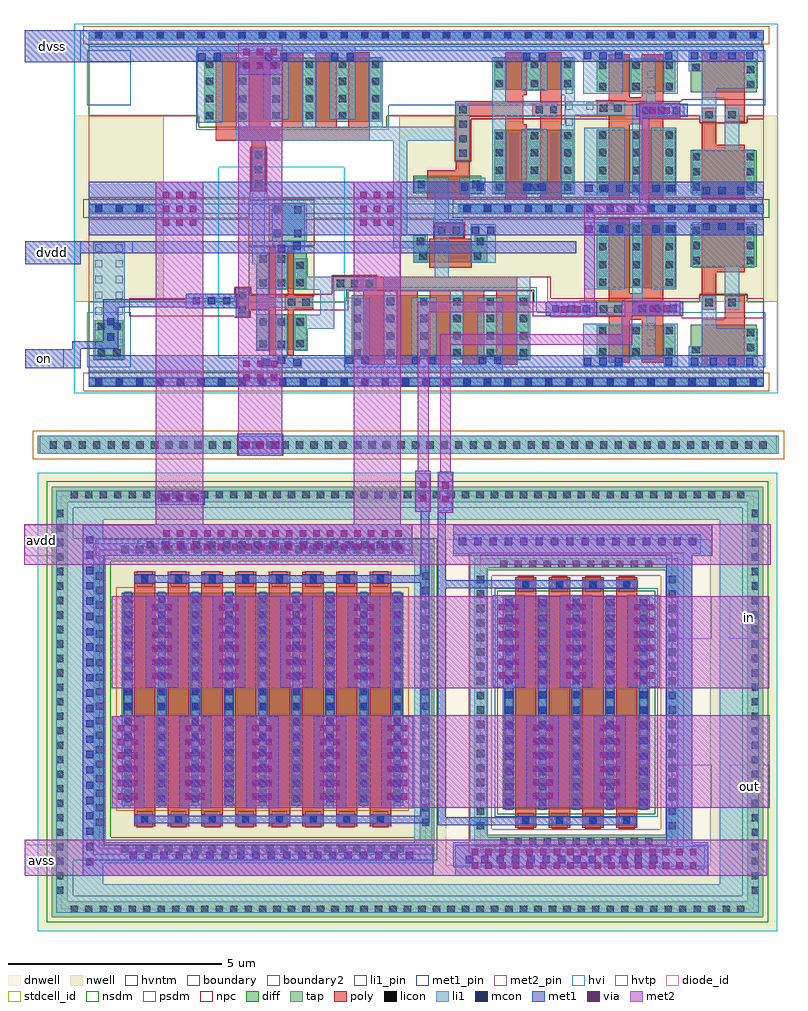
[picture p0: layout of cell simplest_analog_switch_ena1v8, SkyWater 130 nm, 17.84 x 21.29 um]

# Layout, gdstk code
from math import pi, radians
import gdstk
lib = gdstk.Library(unit=1e-6, precision=1e-09)
def R(c, l, rs):  # rectangles x0, y0, x1, y1
    for r in rs: c.add(gdstk.rectangle(r[:2], r[2:], *l))
def A(c, l, x, y, w, h, nx, ny, dx, dy):  # array of equal rectangles
    R(c, l, [(x+i*dx, y+j*dy, x+i*dx+w, y+j*dy+h) for i in range(nx) for j in range(ny)])
def P(c, l, *ps):  # polygons
    for p in ps: c.add(gdstk.Polygon(p, *l))
dnwell = (64, 18)
nwell = (64, 20)
diff = (65, 20)
tap = (65, 44)
poly = (66, 20)
licon = (66, 44)
li1_pin = (67, 16)
li1 = (67, 20)
mcon = (67, 44)
met1_pin = (68, 16)
met1 = (68, 20)
via = (68, 44)
met2_pin = (69, 16)
met2 = (69, 20)
hvi = (75, 20)
hvtp = (78, 44)
stdcell_id = (81, 4)
diode_id = (81, 23)
nsdm = (93, 44)
psdm = (94, 20)
npc = (95, 20)
hvntm = (125, 20)
boundary = (235, 4)
boundary2 = (236, 0)

iso_switch_via = lib.new_cell('iso_switch_via')
R(iso_switch_via, met1, [(3.26,-14.57,3.62,-13.61)])
R(iso_switch_via, via, [(3.36,-14.325,3.51,-14.175), (3.36,-14.005,3.51,-13.855)])
R(iso_switch_via, met2, [(3.26,-14.57,3.62,-13.61)])

sky130_fd_sc_hvl__inv_2 = lib.new_cell('sky130_fd_sc_hvl__inv_2')
R(sky130_fd_sc_hvl__inv_2, nwell, [(-0.33,1.885,2.73,4.485)])
R(sky130_fd_sc_hvl__inv_2, diff, [(0.4,0.58,2.25,1.33), (0.4,2.215,2.25,3.715)])
R(sky130_fd_sc_hvl__inv_2, tap, [(0,-0.085,2.4,0.085), (0,3.985,2.4,4.155)])
P(sky130_fd_sc_hvl__inv_2, poly, [(1.965,3.845),(1.465,3.845),(1.465,2.085),(1.185,2.085),(1.185,3.845),(0.685,3.845),(0.685,1.88),(0.4,1.88),(0.4,1.55),(0.685,1.55),(0.685,0.45),(1.185,0.45),(1.185,1.46),(1.465,1.46),(1.465,0.45),(1.965,0.45)])
A(sky130_fd_sc_hvl__inv_2, licon, 0.155, -0.085, 0.17, 0.17, 5, 2, 0.48, 4.07)
A(sky130_fd_sc_hvl__inv_2, licon, 0.46, 0.62, 0.17, 0.17, 3, 2, 0.78, 0.5)
A(sky130_fd_sc_hvl__inv_2, licon, 0.46, 2.255, 0.17, 0.17, 3, 2, 0.78, 0.415)
A(sky130_fd_sc_hvl__inv_2, licon, 0.46, 3.09, 0.17, 0.17, 3, 2, 0.78, 0.415)
R(sky130_fd_sc_hvl__inv_2, licon, [(0.48,1.63,0.65,1.8), (0.82,1.63,0.99,1.8)])
A(sky130_fd_sc_hvl__inv_2, li1_pin, 1.595, 0.84, 0.17, 0.17, 1, 3, 0, 0.37)
R(sky130_fd_sc_hvl__inv_2, li1_pin, [(0.155,1.58,0.325,1.75), (0.635,1.58,0.805,1.75)])
R(sky130_fd_sc_hvl__inv_2, li1, [(0,-0.085,2.4,0.085), (0.09,0.365,1.02,1.37), (1.98,0.365,2.31,1.37), (0.125,1.55,1.07,1.88), (0.11,2.175,1.06,3.755), (1.68,2.175,2.27,3.755), (0,3.985,2.4,4.155)])
P(sky130_fd_sc_hvl__inv_2, li1, [(1.795,1.78),(1.49,1.78),(1.49,3.755),(1.24,3.755),(1.24,1.61),(1.565,1.61),(1.565,1.37),(1.2,1.37),(1.2,0.54),(1.795,0.54)])
A(sky130_fd_sc_hvl__inv_2, mcon, 0.11, 0.395, 0.17, 0.17, 3, 1, 0.36, 0)
A(sky130_fd_sc_hvl__inv_2, mcon, 0.14, 3.505, 0.17, 0.17, 3, 1, 0.36, 0)
R(sky130_fd_sc_hvl__inv_2, mcon, [(0.155,-0.085,0.325,0.085), (0.155,-0.085,0.325,0.085), (0.635,-0.085,0.805,0.085), (0.635,-0.085,0.805,0.085), (1.115,-0.085,1.285,0.085), (1.115,-0.085,1.285,0.085), (1.595,-0.085,1.765,0.085), (1.595,-0.085,1.765,0.085), (2.075,-0.085,2.245,0.085), (2.075,-0.085,2.245,0.085), (2.01,0.395,2.18,0.565), (1.71,3.505,1.88,3.675), (2.07,3.505,2.24,3.675), (0.155,3.985,0.325,4.155), (0.155,3.985,0.325,4.155), (0.635,3.985,0.805,4.155), (0.635,3.985,0.805,4.155), (1.115,3.985,1.285,4.155), (1.115,3.985,1.285,4.155), (1.595,3.985,1.765,4.155), (1.595,3.985,1.765,4.155), (2.075,3.985,2.245,4.155), (2.075,3.985,2.245,4.155)])
R(sky130_fd_sc_hvl__inv_2, met1_pin, [(0,0,2.4,0.115), (0,0.255,2.4,0.625), (0,3.445,2.4,3.815), (0,3.955,2.4,4.07)])
R(sky130_fd_sc_hvl__inv_2, met1, [(0,-0.115,2.4,0.115), (0,0.255,2.4,0.625), (0,3.445,2.4,3.815), (0,3.955,2.4,4.185)])
R(sky130_fd_sc_hvl__inv_2, hvi, [(-0.33,-0.265,2.73,4.485)])
R(sky130_fd_sc_hvl__inv_2, stdcell_id, [(0,0,2.4,4.07)])
R(sky130_fd_sc_hvl__inv_2, nsdm, [(0,0.215,2.4,1.885), (-0.13,3.855,2.53,4.285), (0,3.855,2.4,4.07)])
R(sky130_fd_sc_hvl__inv_2, psdm, [(-0.13,-0.215,2.53,0.215)])
P(sky130_fd_sc_hvl__inv_2, psdm, [(2.4,3.855),(0,3.855),(0,1.91),(1.1,1.91),(1.1,1.885),(2.4,1.885)])
P(sky130_fd_sc_hvl__inv_2, npc, [(2.4,1.97),(0,1.97),(0,1.545),(0.38,1.545),(0.38,1.53),(1.09,1.53),(1.09,1.545),(2.4,1.545)])
R(sky130_fd_sc_hvl__inv_2, hvntm, [(-0.035,0.35,2.435,1.64)])
R(sky130_fd_sc_hvl__inv_2, boundary2, [(0,0,2.4,4.07)])
sky130_fd_sc_hvl__inv_2.add(gdstk.Label('inv_2', (0,0), layer=83, texttype=44))
sky130_fd_sc_hvl__inv_2.add(gdstk.Label('VGND', (1.2,0.44), layer=68, texttype=5))
sky130_fd_sc_hvl__inv_2.add(gdstk.Label('VNB', (1.2,0.058), layer=68, texttype=5))
sky130_fd_sc_hvl__inv_2.add(gdstk.Label('VPWR', (1.2,3.63), layer=68, texttype=5))
sky130_fd_sc_hvl__inv_2.add(gdstk.Label('VPB', (1.2,4.013), layer=68, texttype=5))
sky130_fd_sc_hvl__inv_2.add(gdstk.Label('A', (0.24,1.665), layer=67, texttype=5))
sky130_fd_sc_hvl__inv_2.add(gdstk.Label('A', (0.72,1.665), layer=67, texttype=5))
sky130_fd_sc_hvl__inv_2.add(gdstk.Label('Y', (1.68,0.925), layer=67, texttype=5))
sky130_fd_sc_hvl__inv_2.add(gdstk.Label('Y', (1.68,1.295), layer=67, texttype=5))
sky130_fd_sc_hvl__inv_2.add(gdstk.Label('Y', (1.68,1.665), layer=67, texttype=5))

sky130_fd_sc_hvl__diode_ = lib.new_cell('sky130_fd_sc_hvl__diode_2')
R(sky130_fd_sc_hvl__diode_, nwell, [(-0.33,1.885,1.29,4.485)])
R(sky130_fd_sc_hvl__diode_, diff, [(0.15,0.535,0.81,1.455)])
R(sky130_fd_sc_hvl__diode_, tap, [(0,-0.085,0.96,0.085), (0,3.985,0.96,4.155)])
R(sky130_fd_sc_hvl__diode_, licon, [(0.155,-0.085,0.325,0.085), (0.635,-0.085,0.805,0.085), (0.21,0.595,0.38,0.765), (0.58,0.595,0.75,0.765), (0.21,1.225,0.38,1.395), (0.58,1.225,0.75,1.395), (0.155,3.985,0.325,4.155), (0.635,3.985,0.805,4.155)])
A(sky130_fd_sc_hvl__diode_, li1_pin, 0.155, 0.84, 0.17, 0.17, 1, 7, 0, 0.37)
A(sky130_fd_sc_hvl__diode_, li1_pin, 0.635, 0.84, 0.17, 0.17, 1, 7, 0, 0.37)
R(sky130_fd_sc_hvl__diode_, li1, [(0,-0.085,0.96,0.085), (0.105,0.515,0.855,3.28), (0,3.985,0.96,4.155)])
R(sky130_fd_sc_hvl__diode_, mcon, [(0.155,-0.085,0.325,0.085), (0.155,-0.085,0.325,0.085), (0.635,-0.085,0.805,0.085), (0.635,-0.085,0.805,0.085), (0.155,3.985,0.325,4.155), (0.155,3.985,0.325,4.155), (0.635,3.985,0.805,4.155), (0.635,3.985,0.805,4.155)])
R(sky130_fd_sc_hvl__diode_, met1_pin, [(0,0,0.96,0.115), (0,0,0.96,0.115), (0,0.255,0.96,0.625), (0,3.445,0.96,3.815), (0,3.955,0.96,4.07), (0,3.955,0.96,4.07)])
R(sky130_fd_sc_hvl__diode_, met1, [(0,-0.115,0.96,0.115), (0,0.255,0.96,0.625), (0,3.445,0.96,3.815), (0,3.955,0.96,4.185)])
R(sky130_fd_sc_hvl__diode_, hvi, [(-0.33,-0.265,1.29,4.485)])
R(sky130_fd_sc_hvl__diode_, stdcell_id, [(0,0,0.96,4.07)])
R(sky130_fd_sc_hvl__diode_, diode_id, [(0.15,0.535,0.81,1.455)])
R(sky130_fd_sc_hvl__diode_, nsdm, [(0,0.215,0.96,1.885), (-0.13,3.855,1.09,4.285), (0,3.855,0.96,4.07)])
R(sky130_fd_sc_hvl__diode_, psdm, [(-0.13,-0.215,1.09,0.215), (0,1.885,0.96,3.855)])
R(sky130_fd_sc_hvl__diode_, hvntm, [(-0.035,0.35,0.995,1.64)])
R(sky130_fd_sc_hvl__diode_, boundary2, [(0,0,0.96,4.07)])
sky130_fd_sc_hvl__diode_.add(gdstk.Label('DIODE', (0.24,3.145), layer=67, texttype=5))
sky130_fd_sc_hvl__diode_.add(gdstk.Label('DIODE', (0.72,3.145), layer=67, texttype=5))
sky130_fd_sc_hvl__diode_.add(gdstk.Label('DIODE', (0.24,2.775), layer=67, texttype=5))
sky130_fd_sc_hvl__diode_.add(gdstk.Label('DIODE', (0.72,2.775), layer=67, texttype=5))
sky130_fd_sc_hvl__diode_.add(gdstk.Label('DIODE', (0.24,2.405), layer=67, texttype=5))
sky130_fd_sc_hvl__diode_.add(gdstk.Label('DIODE', (0.72,2.405), layer=67, texttype=5))
sky130_fd_sc_hvl__diode_.add(gdstk.Label('DIODE', (0.24,2.035), layer=67, texttype=5))
sky130_fd_sc_hvl__diode_.add(gdstk.Label('DIODE', (0.72,2.035), layer=67, texttype=5))
sky130_fd_sc_hvl__diode_.add(gdstk.Label('DIODE', (0.24,1.665), layer=67, texttype=5))
sky130_fd_sc_hvl__diode_.add(gdstk.Label('DIODE', (0.72,1.665), layer=67, texttype=5))
sky130_fd_sc_hvl__diode_.add(gdstk.Label('DIODE', (0.72,1.295), layer=67, texttype=5))
sky130_fd_sc_hvl__diode_.add(gdstk.Label('DIODE', (0.72,0.925), layer=67, texttype=5))
sky130_fd_sc_hvl__diode_.add(gdstk.Label('DIODE', (0.24,0.925), layer=67, texttype=5))
sky130_fd_sc_hvl__diode_.add(gdstk.Label('DIODE', (0.24,1.295), layer=67, texttype=5))
sky130_fd_sc_hvl__diode_.add(gdstk.Label('diode_2', (0,0), layer=83, texttype=44))
sky130_fd_sc_hvl__diode_.add(gdstk.Label('VGND', (0.48,0.44), layer=68, texttype=5))
sky130_fd_sc_hvl__diode_.add(gdstk.Label('VNB', (0.48,0.058), layer=68, texttype=5))
sky130_fd_sc_hvl__diode_.add(gdstk.Label('VNB', (0.48,0.058), layer=68, texttype=5))
sky130_fd_sc_hvl__diode_.add(gdstk.Label('VPWR', (0.48,3.63), layer=68, texttype=5))
sky130_fd_sc_hvl__diode_.add(gdstk.Label('VPB', (0.48,4.013), layer=68, texttype=5))
sky130_fd_sc_hvl__diode_.add(gdstk.Label('VPB', (0.48,4.013), layer=68, texttype=5))

sky130_fd_sc_hvl__decap_ = lib.new_cell('sky130_fd_sc_hvl__decap_4')
R(sky130_fd_sc_hvl__decap_, nwell, [(-0.33,1.885,2.25,4.485)])
R(sky130_fd_sc_hvl__decap_, diff, [(0.21,0.595,1.76,1.345), (0.21,2.705,1.76,3.705)])
R(sky130_fd_sc_hvl__decap_, tap, [(0,-0.085,1.92,0.085), (0,3.985,1.92,4.155)])
P(sky130_fd_sc_hvl__decap_, poly, [(1.475,3.835),(0.475,3.835),(0.475,1.7),(0.805,1.7),(0.805,2.575),(1.475,2.575)],
  [(1.475,2.03),(1.015,2.03),(1.015,1.475),(0.475,1.475),(0.475,0.405),(1.475,0.405)])
A(sky130_fd_sc_hvl__decap_, licon, 0.155, -0.085, 0.17, 0.17, 4, 2, 0.48, 4.07)
A(sky130_fd_sc_hvl__decap_, licon, 0.25, 2.765, 0.17, 0.17, 1, 3, 0, 0.355)
A(sky130_fd_sc_hvl__decap_, licon, 1.53, 2.765, 0.17, 0.17, 1, 3, 0, 0.355)
R(sky130_fd_sc_hvl__decap_, licon, [(0.25,0.675,0.42,0.845), (1.53,0.725,1.7,0.895), (1.53,1.08,1.7,1.25), (0.555,1.78,0.725,1.95), (1.095,1.78,1.265,1.95)])
R(sky130_fd_sc_hvl__decap_, li1, [(0,-0.085,1.92,0.085), (0,3.985,1.92,4.155)])
P(sky130_fd_sc_hvl__decap_, li1, [(1.7,3.755),(0.25,3.755),(0.25,2.685),(1.015,2.685),(1.015,1.7),(1.345,1.7),(1.345,2.685),(1.7,2.685)],
  [(1.78,1.25),(0.805,1.25),(0.805,2.03),(0.475,2.03),(0.475,0.845),(0.17,0.845),(0.17,0.365),(1.78,0.365)])
A(sky130_fd_sc_hvl__decap_, mcon, 0.155, -0.085, 0.17, 0.17, 4, 2, 0.48, 4.07)
A(sky130_fd_sc_hvl__decap_, mcon, 0.215, 0.395, 0.17, 0.17, 3, 1, 0.44, 0)
R(sky130_fd_sc_hvl__decap_, mcon, [(1.51,0.395,1.68,0.565), (0.495,3.56,0.665,3.73), (0.86,3.56,1.03,3.73), (1.3,3.56,1.47,3.73)])
R(sky130_fd_sc_hvl__decap_, met1_pin, [(0,0,1.92,0.115), (0,0,1.92,0.115), (0,0.255,1.92,0.625), (0,3.445,1.92,3.815), (0,3.955,1.92,4.07), (0,3.955,1.92,4.07)])
R(sky130_fd_sc_hvl__decap_, met1, [(0,-0.115,1.92,0.115), (0,0.255,1.92,0.625), (0,3.445,1.92,3.815), (0,3.955,1.92,4.185)])
R(sky130_fd_sc_hvl__decap_, hvi, [(-0.33,-0.265,2.25,4.485)])
R(sky130_fd_sc_hvl__decap_, stdcell_id, [(0,0,1.92,4.07)])
R(sky130_fd_sc_hvl__decap_, nsdm, [(-0.13,3.855,2.05,4.285)])
P(sky130_fd_sc_hvl__decap_, nsdm, [(1.92,1.885),(1.54,1.885),(1.54,2.07),(0.425,2.07),(0.425,1.885),(0,1.885),(0,0.215),(1.92,0.215)])
R(sky130_fd_sc_hvl__decap_, psdm, [(-0.13,-0.215,2.05,0.215)])
P(sky130_fd_sc_hvl__decap_, psdm, [(1.92,3.855),(0,3.855),(0,1.885),(0.425,1.885),(0.425,2.07),(1.54,2.07),(1.54,1.885),(1.92,1.885)])
P(sky130_fd_sc_hvl__decap_, npc, [(1.92,1.97),(1.54,1.97),(1.54,2.05),(0.425,2.05),(0.425,1.97),(0,1.97),(0,1.5),(1.92,1.5)])
R(sky130_fd_sc_hvl__decap_, hvntm, [(-0.035,0.35,1.955,1.64)])
R(sky130_fd_sc_hvl__decap_, boundary2, [(0,0,1.92,4.07)])
sky130_fd_sc_hvl__decap_.add(gdstk.Label('decap_4', (0,0), layer=83, texttype=44))
sky130_fd_sc_hvl__decap_.add(gdstk.Label('VNB', (0.96,0.058), layer=68, texttype=5))
sky130_fd_sc_hvl__decap_.add(gdstk.Label('VGND', (0.96,0.44), layer=68, texttype=5))
sky130_fd_sc_hvl__decap_.add(gdstk.Label('VNB', (0.96,0.058), layer=68, texttype=5))
sky130_fd_sc_hvl__decap_.add(gdstk.Label('VPWR', (0.96,3.63), layer=68, texttype=5))
sky130_fd_sc_hvl__decap_.add(gdstk.Label('VPB', (0.96,4.013), layer=68, texttype=5))
sky130_fd_sc_hvl__decap_.add(gdstk.Label('VPB', (0.96,4.013), layer=68, texttype=5))

sky130_fd_sc_hvl__fill_2 = lib.new_cell('sky130_fd_sc_hvl__fill_2')
R(sky130_fd_sc_hvl__fill_2, nwell, [(-0.33,1.885,1.29,4.485)])
R(sky130_fd_sc_hvl__fill_2, tap, [(0,-0.085,0.96,0.085), (0,3.985,0.96,4.155)])
R(sky130_fd_sc_hvl__fill_2, licon, [(0.155,-0.085,0.325,0.085), (0.635,-0.085,0.805,0.085), (0.155,3.985,0.325,4.155), (0.635,3.985,0.805,4.155)])
R(sky130_fd_sc_hvl__fill_2, li1, [(0,-0.085,0.96,0.085), (0,3.985,0.96,4.155)])
R(sky130_fd_sc_hvl__fill_2, mcon, [(0.155,-0.085,0.325,0.085), (0.155,-0.085,0.325,0.085), (0.635,-0.085,0.805,0.085), (0.635,-0.085,0.805,0.085), (0.155,3.985,0.325,4.155), (0.155,3.985,0.325,4.155), (0.635,3.985,0.805,4.155), (0.635,3.985,0.805,4.155)])
R(sky130_fd_sc_hvl__fill_2, met1_pin, [(0,0,0.96,0.115), (0,0,0.96,0.115), (0,0.255,0.96,0.625), (0,3.445,0.96,3.815), (0,3.955,0.96,4.07), (0,3.955,0.96,4.07)])
R(sky130_fd_sc_hvl__fill_2, met1, [(0,-0.115,0.96,0.115), (0,0.255,0.96,0.625), (0,3.445,0.96,3.815), (0,3.955,0.96,4.185)])
R(sky130_fd_sc_hvl__fill_2, hvi, [(-0.33,-0.265,1.29,4.485)])
R(sky130_fd_sc_hvl__fill_2, stdcell_id, [(0,0,0.96,4.07)])
R(sky130_fd_sc_hvl__fill_2, nsdm, [(0,0.215,0.96,1.885), (-0.13,3.855,1.09,4.285), (0,3.855,0.96,4.07)])
R(sky130_fd_sc_hvl__fill_2, psdm, [(-0.13,-0.215,1.09,0.215), (0,1.885,0.96,3.855)])
R(sky130_fd_sc_hvl__fill_2, hvntm, [(-0.035,0.35,0.995,1.64)])
R(sky130_fd_sc_hvl__fill_2, boundary2, [(0,0,0.96,4.07)])
sky130_fd_sc_hvl__fill_2.add(gdstk.Label('fill_2', (0,0), layer=83, texttype=44))
sky130_fd_sc_hvl__fill_2.add(gdstk.Label('VGND', (0.48,0.44), layer=68, texttype=5))
sky130_fd_sc_hvl__fill_2.add(gdstk.Label('VNB', (0.48,0.058), layer=68, texttype=5))
sky130_fd_sc_hvl__fill_2.add(gdstk.Label('VNB', (0.48,0.058), layer=68, texttype=5))
sky130_fd_sc_hvl__fill_2.add(gdstk.Label('VPWR', (0.48,3.63), layer=68, texttype=5))
sky130_fd_sc_hvl__fill_2.add(gdstk.Label('VPB', (0.48,4.013), layer=68, texttype=5))
sky130_fd_sc_hvl__fill_2.add(gdstk.Label('VPB', (0.48,4.013), layer=68, texttype=5))

sky130_fd_sc_hvl__lsbufl = lib.new_cell('sky130_fd_sc_hvl__lsbuflv2hv_1')
R(sky130_fd_sc_hvl__lsbufl, nwell, [(-0.33,1.885,0.8,6.255), (2.8,2.015,4.335,4.325)])
P(sky130_fd_sc_hvl__lsbufl, nwell, [(10.89,6.255),(6.335,6.255),(6.335,2.465),(9.8,2.465),(9.8,1.885),(10.89,1.885)])
R(sky130_fd_sc_hvl__lsbufl, diff, [(5.22,0.535,9.37,2.035), (2.985,0.755,4.155,1.595), (2.985,2.195,4.155,3.035), (6.665,4.425,8.255,4.845), (8.555,4.425,10.41,5.925), (1.755,6.105,5.905,7.605), (8.555,6.855,10.41,7.605)])
P(sky130_fd_sc_hvl__lsbufl, diff, [(8.395,3.445),(8.105,3.445),(8.105,3.235),(6.955,3.235),(6.955,3.445),(6.665,3.445),(6.665,2.815),(8.395,2.815)])
R(sky130_fd_sc_hvl__lsbufl, tap, [(0,-0.085,10.56,0.085), (3.265,3.305,4.155,4.145), (0,3.985,0.47,4.155), (7.715,3.985,10.56,4.155), (0,8.055,10.56,8.225)])
P(sky130_fd_sc_hvl__lsbufl, poly, [(3.43,3.165),(3.28,3.165),(3.28,2.035),(2.825,2.035),(2.825,2.2),(2.495,2.2),(2.495,1.53),(2.825,1.53),(2.825,1.705),(3.28,1.705),(3.28,0.625),(3.43,0.625)],
  [(10.145,7.735),(9.645,7.735),(9.645,6.555),(9.45,6.555),(9.45,6.225),(9.645,6.225),(9.645,4.295),(10.145,4.295)],
  [(9.32,6.055),(9.24,6.055),(9.24,6.725),(9.32,6.725),(9.32,7.735),(8.82,7.735),(8.82,6.555),(7.66,6.555),(7.66,4.975),(6.99,4.975),(6.99,4.295),(7.99,4.295),(7.99,6.225),(8.82,6.225),(8.82,4.295),(9.32,4.295)],
  [(9.105,2.475),(4.78,2.475),(4.78,2.145),(5.485,2.145),(5.485,0.405),(5.985,0.405),(5.985,2.145),(6.265,2.145),(6.265,0.405),(6.765,0.405),(6.765,2.145),(7.045,2.145),(7.045,0.405),(7.545,0.405),(7.545,2.145),(7.825,2.145),(7.825,0.405),(8.325,0.405),(8.325,2.145),(8.605,2.145),(8.605,0.405),(9.105,0.405)],
  [(8.03,3.365),(7.835,3.365),(7.835,3.725),(7.165,3.725),(7.165,3.365),(7.03,3.365),(7.03,2.685),(8.03,2.685)],
  [(5.64,7.735),(5.14,7.735),(5.14,5.995),(4.86,5.995),(4.86,7.735),(4.36,7.735),(4.36,5.995),(4.08,5.995),(4.08,7.735),(3.58,7.735),(3.58,5.995),(3.3,5.995),(3.3,7.735),(2.8,7.735),(2.8,5.995),(2.52,5.995),(2.52,7.735),(2.02,7.735),(2.02,5.665),(2.865,5.665),(2.865,4.485),(3.195,4.485),(3.195,5.665),(5.64,5.665)],
  [(4.31,2.035),(3.86,2.035),(3.86,3.165),(3.71,3.165),(3.71,2.035),(3.64,2.035),(3.64,1.705),(3.71,1.705),(3.71,0.625),(3.86,0.625),(3.86,1.705),(4.31,1.705)])
A(sky130_fd_sc_hvl__lsbufl, licon, 0.155, -0.085, 0.17, 0.17, 22, 2, 0.48, 8.14)
A(sky130_fd_sc_hvl__lsbufl, licon, 5.26, 0.595, 0.17, 0.17, 6, 2, 0.78, 0.4)
A(sky130_fd_sc_hvl__lsbufl, licon, 3.055, 1.325, 0.17, 0.17, 3, 2, 0.43, 0.92)
A(sky130_fd_sc_hvl__lsbufl, licon, 5.26, 1.405, 0.17, 0.17, 6, 2, 0.78, 0.4)
A(sky130_fd_sc_hvl__lsbufl, licon, 4.86, 2.225, 0.17, 0.17, 3, 1, 0.34, 0)
A(sky130_fd_sc_hvl__lsbufl, licon, 7.835, 3.985, 0.17, 0.17, 6, 1, 0.48, 0)
A(sky130_fd_sc_hvl__lsbufl, licon, 2.945, 4.565, 0.17, 0.17, 1, 3, 0, 0.34)
A(sky130_fd_sc_hvl__lsbufl, licon, 7.74, 5.285, 0.17, 0.17, 1, 4, 0, 0.34)
A(sky130_fd_sc_hvl__lsbufl, licon, 1.795, 6.165, 0.17, 0.17, 6, 2, 0.78, 0.4)
A(sky130_fd_sc_hvl__lsbufl, licon, 1.795, 6.975, 0.17, 0.17, 6, 2, 0.78, 0.4)
R(sky130_fd_sc_hvl__lsbufl, licon, [(3.485,0.795,3.655,0.965), (3.055,0.815,3.225,0.985), (3.915,0.815,4.085,0.985), (2.575,1.61,2.745,1.78), (3.72,1.785,3.89,1.955), (4.06,1.785,4.23,1.955), (2.575,1.95,2.745,2.12), (3.915,2.655,4.085,2.825), (3.055,2.805,3.225,2.975), (3.485,2.805,3.655,2.975), (6.805,2.875,6.975,3.045), (8.085,2.875,8.255,3.045), (6.745,3.215,6.915,3.385), (8.145,3.215,8.315,3.385), (3.385,3.4,3.555,3.57), (3.865,3.4,4.035,3.57), (7.245,3.475,7.415,3.645), (7.585,3.475,7.755,3.645), (3.385,3.95,3.555,4.12), (3.865,3.95,4.035,4.12), (0.155,3.985,0.325,4.155), (8.595,4.485,8.765,4.655), (9.42,4.485,9.59,4.655), (10.2,4.485,10.37,4.655), (6.765,4.55,6.935,4.72), (8.045,4.55,8.215,4.72), (8.595,4.885,8.765,5.055), (9.42,4.885,9.59,5.055), (10.2,4.885,10.37,5.055), (8.595,5.295,8.765,5.465), (9.42,5.295,9.59,5.465), (10.2,5.295,10.37,5.465), (8.595,5.695,8.765,5.865), (9.42,5.695,9.59,5.865), (10.2,5.695,10.37,5.865), (9.53,6.305,9.7,6.475), (9.87,6.305,10.04,6.475), (8.595,6.915,8.765,7.085), (9.42,6.915,9.59,7.085), (10.2,6.915,10.37,7.085), (8.595,7.375,8.765,7.545), (9.42,7.375,9.59,7.545), (10.2,7.375,10.37,7.545)])
A(sky130_fd_sc_hvl__lsbufl, li1_pin, 10.235, 5.28, 0.17, 0.17, 1, 5, 0, 0.37)
R(sky130_fd_sc_hvl__lsbufl, li1_pin, [(2.555,1.58,2.725,1.75), (2.555,1.95,2.725,2.12)])
R(sky130_fd_sc_hvl__lsbufl, li1, [(0,-0.085,10.56,0.085), (2.495,1.53,2.805,2.2), (8.005,2.795,8.595,3.705), (0,3.985,0.8,4.155), (7.755,3.985,10.56,4.155), (7.755,4.405,8.345,4.8), (9.21,4.405,9.8,5.945), (9.21,6.835,9.8,7.745), (0,8.055,10.56,8.225)])
P(sky130_fd_sc_hvl__lsbufl, li1, [(5.295,7.885),(1.585,7.885),(1.585,6.085),(2.175,6.085),(2.175,7.715),(3.145,7.715),(3.145,6.165),(3.735,6.165),(3.735,7.715),(4.705,7.715),(4.705,6.165),(5.295,6.165)],
  [(4.31,1.995),(3.265,1.995),(3.265,3.055),(3.175,3.055),(3.175,5.495),(2.885,5.495),(2.885,2.765),(2.975,2.765),(2.975,0.735),(3.265,0.735),(3.265,1.745),(4.31,1.745)],
  [(9.41,2.475),(7.495,2.475),(7.495,3.395),(7.835,3.395),(7.835,3.805),(7.495,3.805),(7.495,4.8),(6.685,4.8),(6.685,4.47),(7.165,4.47),(7.165,2.475),(5.96,2.475),(5.96,0.595),(6.29,0.595),(6.29,2.145),(7.52,2.145),(7.52,0.595),(7.85,0.595),(7.85,2.145),(9.08,2.145),(9.08,0.515),(9.41,0.515)],
  [(8.76,1.975),(8.17,1.975),(8.17,0.425),(7.2,0.425),(7.2,1.975),(6.61,1.975),(6.61,0.425),(5.64,0.425),(5.64,1.975),(5.05,1.975),(5.05,0.255),(8.76,0.255)],
  [(4.045,0.565),(3.705,0.565),(3.705,1.575),(3.435,1.575),(3.435,0.565),(3.095,0.565),(3.095,0.335),(4.045,0.335)],
  [(10.04,6.555),(8.845,6.555),(8.845,7.625),(8.515,7.625),(8.515,4.405),(8.845,4.405),(8.845,6.225),(10.04,6.225)],
  [(7.99,6.555),(7.66,6.555),(7.66,5.995),(5.945,5.995),(5.945,7.625),(5.615,7.625),(5.615,5.995),(4.385,5.995),(4.385,7.545),(4.055,7.545),(4.055,5.995),(2.825,5.995),(2.825,7.545),(2.495,7.545),(2.495,5.665),(6.185,5.665),(6.185,3.135),(6.665,3.135),(6.665,2.795),(6.995,2.795),(6.995,3.465),(6.515,3.465),(6.515,5.665),(7.66,5.665),(7.66,5.205),(7.99,5.205)],
  [(5.79,2.475),(4.185,2.475),(4.185,2.905),(3.875,2.905),(3.875,2.165),(4.48,2.165),(4.48,1.575),(3.875,1.575),(3.875,0.735),(4.185,0.735),(4.185,1.245),(4.81,1.245),(4.81,2.145),(5.79,2.145)],
  [(4.115,4.2),(3.345,4.2),(3.345,3.225),(3.435,3.225),(3.435,2.165),(3.705,2.165),(3.705,3.075),(4.115,3.075)],
  [(10.45,7.625),(10.12,7.625),(10.12,6.725),(10.21,6.725),(10.21,6.055),(10.12,6.055),(10.12,4.405),(10.45,4.405)])
A(sky130_fd_sc_hvl__lsbufl, mcon, 0.155, -0.085, 0.17, 0.17, 22, 2, 0.48, 8.14)
A(sky130_fd_sc_hvl__lsbufl, mcon, 7.835, 3.985, 0.17, 0.17, 6, 1, 0.48, 0)
R(sky130_fd_sc_hvl__lsbufl, mcon, [(3.125,0.365,3.295,0.535), (3.845,0.365,4.015,0.535), (3.485,0.425,3.655,0.595), (5.08,0.425,5.25,0.595), (5.44,0.425,5.61,0.595), (6.64,0.425,6.81,0.595), (7,0.425,7.17,0.595), (8.2,0.425,8.37,0.595), (8.56,0.425,8.73,0.595), (3.485,3.05,3.655,3.22), (3.845,3.105,4.015,3.275), (8.035,3.475,8.205,3.645), (8.395,3.475,8.565,3.645), (0.155,3.985,0.325,4.155), (7.785,4.495,7.955,4.665), (8.145,4.495,8.315,4.665), (9.24,4.495,9.41,4.665), (9.6,4.495,9.77,4.665), (1.615,7.545,1.785,7.715), (1.975,7.545,2.145,7.715), (3.175,7.545,3.345,7.715), (3.535,7.545,3.705,7.715), (4.735,7.545,4.905,7.715), (5.095,7.545,5.265,7.715), (9.24,7.545,9.41,7.715), (9.6,7.545,9.77,7.715)])
R(sky130_fd_sc_hvl__lsbufl, met1_pin, [(0,0,10.56,0.115), (0,0.255,10.56,0.625), (0.07,3.02,10.49,3.305), (0,3.445,10.56,3.815), (0,3.955,10.56,4.185), (0,4.325,10.56,4.695), (0,7.515,10.56,7.885), (0,8.025,10.56,8.14)])
A(sky130_fd_sc_hvl__lsbufl, met1, 0, -0.115, 10.56, 0.23, 1, 3, 0, 4.07)
R(sky130_fd_sc_hvl__lsbufl, met1, [(0,0.255,10.56,0.625), (0.07,3.02,10.49,3.305), (0,3.445,10.56,3.815), (0,4.325,10.56,4.695), (0,7.515,10.56,7.885)])
P(sky130_fd_sc_hvl__lsbufl, hvi, [(10.89,8.405),(5.035,8.405),(5.035,0.575),(2.095,0.575),(2.095,5.035),(5.035,5.035),(5.035,8.405),(-0.33,8.405),(-0.33,-0.265),(10.89,-0.265)])
R(sky130_fd_sc_hvl__lsbufl, hvtp, [(2.805,2.015,4.335,3.215)])
R(sky130_fd_sc_hvl__lsbufl, stdcell_id, [(0,0,10.56,8.14)])
R(sky130_fd_sc_hvl__lsbufl, nsdm, [(2.8,3.175,4.335,4.275), (-0.13,3.855,0.8,4.285), (7.585,3.855,10.69,4.285)])
P(sky130_fd_sc_hvl__lsbufl, nsdm, [(10.56,7.925),(0,7.925),(0,6.255),(1.625,6.255),(1.625,5.975),(6.035,5.975),(6.035,6.255),(10.56,6.255)],
  [(10.56,1.885),(9.5,1.885),(9.5,2.165),(5.09,2.165),(5.09,1.885),(0,1.885),(0,0.215),(10.56,0.215)])
R(sky130_fd_sc_hvl__lsbufl, psdm, [(-0.13,-0.215,10.69,0.215), (-0.13,7.925,10.69,8.355)])
P(sky130_fd_sc_hvl__lsbufl, psdm, [(10.56,6.255),(10.15,6.255),(10.15,6.195),(8.02,6.195),(8.02,5.175),(7.63,5.175),(7.63,6.255),(6.035,6.255),(6.035,5.975),(1.625,5.975),(1.625,6.255),(0,6.255),(0,4.285),(2.835,4.285),(2.835,5.525),(3.225,5.525),(3.225,4.285),(10.56,4.285)],
  [(10.56,3.855),(7.865,3.855),(7.865,3.365),(7.135,3.365),(7.135,3.855),(4.335,3.855),(4.335,3.175),(2.8,3.175),(2.8,3.855),(0,3.855),(0,1.885),(2.465,1.885),(2.465,2.23),(2.855,2.23),(2.855,2.065),(4.75,2.065),(4.75,2.505),(5.82,2.505),(5.82,2.465),(9.8,2.465),(9.8,1.885),(10.56,1.885)])
R(sky130_fd_sc_hvl__lsbufl, npc, [(7.145,3.375,7.855,3.745), (2.845,4.465,3.215,5.515)])
P(sky130_fd_sc_hvl__lsbufl, npc, [(10.56,6.595),(7.64,6.595),(7.64,5.185),(8.01,5.185),(8.01,6.17),(10.56,6.17)],
  [(10.56,1.97),(9.885,1.97),(9.885,2.47),(5.81,2.47),(5.81,2.495),(4.76,2.495),(4.76,2.055),(2.845,2.055),(2.845,2.22),(2.475,2.22),(2.475,1.97),(0,1.97),(0,1.545),(2.475,1.545),(2.475,1.51),(2.845,1.51),(2.845,1.685),(5.13,1.685),(5.13,2.125),(9.46,2.125),(9.46,1.545),(10.56,1.545)])
P(sky130_fd_sc_hvl__lsbufl, hvntm, [(10.595,1.64),(9.555,1.64),(9.555,2.22),(5.035,2.22),(5.035,0.35),(10.595,0.35)],
  [(10.595,7.79),(1.57,7.79),(1.57,5.92),(6.09,5.92),(6.09,6.5),(10.595,6.5)])
R(sky130_fd_sc_hvl__lsbufl, boundary2, [(0,0,10.56,8.14)])
sky130_fd_sc_hvl__lsbufl.add(gdstk.Label('lsbuflv2hv_1', (0,0), layer=83, texttype=44))
sky130_fd_sc_hvl__lsbufl.add(gdstk.Label('VPWR', (4.8,4.51), layer=68, texttype=5))
sky130_fd_sc_hvl__lsbufl.add(gdstk.Label('VPWR', (4.8,3.63), layer=68, texttype=5))
sky130_fd_sc_hvl__lsbufl.add(gdstk.Label('VGND', (4.7,7.7), layer=68, texttype=5))
sky130_fd_sc_hvl__lsbufl.add(gdstk.Label('VGND', (4.8,0.44), layer=68, texttype=5))
sky130_fd_sc_hvl__lsbufl.add(gdstk.Label('VNB', (4.8,0.058), layer=68, texttype=5))
sky130_fd_sc_hvl__lsbufl.add(gdstk.Label('LVPWR', (4.8,3.165), layer=68, texttype=5))
sky130_fd_sc_hvl__lsbufl.add(gdstk.Label('VPB', (4.8,4.068), layer=68, texttype=5))
sky130_fd_sc_hvl__lsbufl.add(gdstk.Label('VNB', (4.8,8.082), layer=68, texttype=5))
sky130_fd_sc_hvl__lsbufl.add(gdstk.Label('A', (2.64,2.035), layer=67, texttype=5))
sky130_fd_sc_hvl__lsbufl.add(gdstk.Label('A', (2.64,1.665), layer=67, texttype=5))
sky130_fd_sc_hvl__lsbufl.add(gdstk.Label('X', (10.32,6.105), layer=67, texttype=5))
sky130_fd_sc_hvl__lsbufl.add(gdstk.Label('X', (10.32,5.735), layer=67, texttype=5))
sky130_fd_sc_hvl__lsbufl.add(gdstk.Label('X', (10.32,5.365), layer=67, texttype=5))
sky130_fd_sc_hvl__lsbufl.add(gdstk.Label('X', (10.32,6.475), layer=67, texttype=5))
sky130_fd_sc_hvl__lsbufl.add(gdstk.Label('X', (10.32,6.845), layer=67, texttype=5))

iso_switch_via_med = lib.new_cell('iso_switch_via_med')
R(iso_switch_via_med, met1, [(3.06,-14.57,3.82,-12.41)])
A(iso_switch_via_med, via, 3.2, -14.365, 0.15, 0.15, 1, 6, 0, 0.32)
A(iso_switch_via_med, via, 3.52, -14.365, 0.15, 0.15, 1, 6, 0, 0.32)
R(iso_switch_via_med, met2, [(3.06,-14.57,3.82,-12.41)])

sky130_fd_pr__nfet_g5v0d = lib.new_cell('sky130_fd_pr__nfet_g5v0d10v5_N9BQ2J')
R(sky130_fd_pr__nfet_g5v0d, diff, [(-1.725,-2.5,1.725,2.5)])
R(sky130_fd_pr__nfet_g5v0d, tap, [(-2.395,-3.39,2.395,-3.1), (-2.395,-3.1,-2.105,3.1), (2.105,-3.1,2.395,3.1), (-2.395,3.1,2.395,3.39)])
A(sky130_fd_pr__nfet_g5v0d, poly, -1.435, -2.94, 0.5, 5.88, 4, 1, 0.79, 0)
A(sky130_fd_pr__nfet_g5v0d, licon, -1.785, -3.33, 0.17, 0.17, 11, 2, 0.34, 6.49)
A(sky130_fd_pr__nfet_g5v0d, licon, -2.335, -2.98, 0.17, 0.17, 1, 18, 0, 0.34)
A(sky130_fd_pr__nfet_g5v0d, licon, 2.165, -2.98, 0.17, 0.17, 1, 18, 0, 0.34)
A(sky130_fd_pr__nfet_g5v0d, licon, -1.27, -2.86, 0.17, 0.17, 4, 2, 0.79, 5.55)
A(sky130_fd_pr__nfet_g5v0d, licon, -1.665, -2.295, 0.17, 0.17, 5, 14, 0.79, 0.34)
A(sky130_fd_pr__nfet_g5v0d, li1, -1.435, -2.86, 0.5, 0.17, 4, 2, 0.79, 5.55)
A(sky130_fd_pr__nfet_g5v0d, li1, -1.665, -2.52, 0.17, 5.04, 5, 1, 0.79, 0)
R(sky130_fd_pr__nfet_g5v0d, li1, [(-2.335,-3.33,2.335,-3.16), (-2.335,-3.16,-2.165,3.16), (2.165,-3.16,2.335,3.16), (-2.335,3.16,2.335,3.33)])
A(sky130_fd_pr__nfet_g5v0d, mcon, -1.27, -2.86, 0.17, 0.17, 4, 2, 0.79, 5.55)
A(sky130_fd_pr__nfet_g5v0d, mcon, -1.665, -2.425, 0.17, 0.17, 5, 14, 0.79, 0.36)
A(sky130_fd_pr__nfet_g5v0d, met1, -1.415, -2.89, 0.46, 0.23, 4, 2, 0.79, 5.55)
A(sky130_fd_pr__nfet_g5v0d, met1, -1.695, -2.5, 0.23, 5, 5, 1, 0.79, 0)
R(sky130_fd_pr__nfet_g5v0d, hvi, [(-2.58,-3.575,2.58,3.575)])
R(sky130_fd_pr__nfet_g5v0d, nsdm, [(-1.85,-2.625,1.85,2.625)])
R(sky130_fd_pr__nfet_g5v0d, psdm, [(-2.52,-3.515,2.52,-2.975), (-2.52,-2.975,-1.98,2.975), (1.98,-2.975,2.52,2.975), (-2.52,2.975,2.52,3.515)])
A(sky130_fd_pr__nfet_g5v0d, npc, -1.37, -2.96, 0.37, 0.37, 4, 2, 0.79, 5.55)
R(sky130_fd_pr__nfet_g5v0d, hvntm, [(-1.91,-2.685,1.91,2.685)])
R(sky130_fd_pr__nfet_g5v0d, boundary, [(-2.25,-3.465,2.25,3.465)])

sky130_fd_pr__pfet_g5v0d = lib.new_cell('sky130_fd_pr__pfet_g5v0d10v5_KLJ6Y6')
R(sky130_fd_pr__pfet_g5v0d, nwell, [(-4.305,-3.985,4.305,3.985)])
R(sky130_fd_pr__pfet_g5v0d, diff, [(-3.305,-2.5,3.305,2.5)])
R(sky130_fd_pr__pfet_g5v0d, tap, [(-3.975,-3.655,3.975,-3.365), (-3.975,-3.365,-3.685,3.365), (3.685,-3.365,3.975,3.365), (-3.975,3.365,3.975,3.655)])
A(sky130_fd_pr__pfet_g5v0d, poly, -3.015, -2.985, 0.5, 5.97, 8, 1, 0.79, 0)
A(sky130_fd_pr__pfet_g5v0d, licon, -3.315, -3.595, 0.17, 0.17, 20, 2, 0.34, 7.02)
A(sky130_fd_pr__pfet_g5v0d, licon, -3.915, -2.975, 0.17, 0.17, 1, 18, 0, 0.34)
A(sky130_fd_pr__pfet_g5v0d, licon, 3.745, -2.975, 0.17, 0.17, 1, 18, 0, 0.34)
A(sky130_fd_pr__pfet_g5v0d, licon, -2.85, -2.905, 0.17, 0.17, 8, 2, 0.79, 5.64)
A(sky130_fd_pr__pfet_g5v0d, licon, -3.245, -2.295, 0.17, 0.17, 9, 14, 0.79, 0.34)
A(sky130_fd_pr__pfet_g5v0d, li1, -3.015, -2.905, 0.5, 0.17, 8, 2, 0.79, 5.64)
A(sky130_fd_pr__pfet_g5v0d, li1, -3.245, -2.52, 0.17, 5.04, 9, 1, 0.79, 0)
R(sky130_fd_pr__pfet_g5v0d, li1, [(-3.915,-3.595,3.915,-3.425), (-3.915,-3.425,-3.745,3.425), (3.745,-3.425,3.915,3.425), (-3.915,3.425,3.915,3.595)])
A(sky130_fd_pr__pfet_g5v0d, mcon, -2.85, -2.905, 0.17, 0.17, 8, 2, 0.79, 5.64)
A(sky130_fd_pr__pfet_g5v0d, mcon, -3.245, -2.425, 0.17, 0.17, 9, 14, 0.79, 0.36)
A(sky130_fd_pr__pfet_g5v0d, met1, -2.995, -2.935, 0.46, 0.23, 8, 2, 0.79, 5.64)
A(sky130_fd_pr__pfet_g5v0d, met1, -3.275, -2.5, 0.23, 5, 9, 1, 0.79, 0)
R(sky130_fd_pr__pfet_g5v0d, hvi, [(-4.305,-3.985,4.305,3.985)])
R(sky130_fd_pr__pfet_g5v0d, nsdm, [(-4.1,-3.78,4.1,-3.24), (-4.1,-3.24,-3.56,3.24), (3.56,-3.24,4.1,3.24), (-4.1,3.24,4.1,3.78)])
R(sky130_fd_pr__pfet_g5v0d, psdm, [(-3.43,-2.625,3.43,2.625)])
A(sky130_fd_pr__pfet_g5v0d, npc, -2.95, -3.005, 0.37, 0.37, 8, 2, 0.79, 5.64)
R(sky130_fd_pr__pfet_g5v0d, boundary, [(-3.83,-3.51,3.83,3.51)])

simple_analog_switch_2 = lib.new_cell('simple_analog_switch_2')
R(simple_analog_switch_2, dnwell, [(6.59,0.635,22.855,10.335)])
R(simple_analog_switch_2, nwell, [(6.05,0.12,23.4,1.665), (6.05,1.665,7.08,2.31), (21.825,1.665,23.4,9.305), (6.05,2.31,7.025,9.305), (6.05,9.305,23.4,10.88)])
R(simple_analog_switch_2, tap, [(6.38,0.45,23.07,0.82), (6.38,0.82,6.75,10.18), (22.7,0.82,23.07,10.18), (6.38,10.18,23.07,10.55)])
A(simple_analog_switch_2, licon, 6.82, 0.55, 0.17, 0.17, 47, 2, 0.34, 9.73)
A(simple_analog_switch_2, licon, 6.48, 0.995, 0.17, 0.17, 1, 27, 0, 0.34)
A(simple_analog_switch_2, licon, 22.8, 0.995, 0.17, 0.17, 1, 27, 0, 0.34)
R(simple_analog_switch_2, li1, [(6.48,0.55,22.97,1.22), (6.48,1.22,7.585,1.71), (22.05,1.22,22.97,9.77), (15.8,1.62,21.785,2.205), (6.48,1.71,15.35,2.21), (16.18,2.205,16.61,8.815), (20.8,2.205,21.41,8.815), (6.48,2.21,7.585,8.845), (14.88,2.21,15.35,8.845), (16.18,8.815,21.41,8.98), (6.48,8.845,15.35,9.315), (15.8,8.98,21.61,9.43), (6.48,9.315,7.585,9.77), (6.48,9.77,22.97,10.45)])
A(simple_analog_switch_2, mcon, 7.185, 1.66, 0.17, 0.17, 1, 22, 0, 0.36)
A(simple_analog_switch_2, mcon, 16.095, 1.715, 0.17, 0.17, 13, 1, 0.36, 0)
A(simple_analog_switch_2, mcon, 8.205, 1.815, 0.17, 0.17, 19, 1, 0.36, 0)
A(simple_analog_switch_2, mcon, 8.6, 9.1, 0.17, 0.17, 17, 1, 0.36, 0)
A(simple_analog_switch_2, mcon, 15.93, 9.18, 0.17, 0.17, 16, 1, 0.36, 0)
R(simple_analog_switch_2, met1_pin, [(20.7,1.575,21.7,2.11), (7.405,8.93,8.405,9.32), (14.905,9.96,15.245,10.865), (15.445,9.98,15.78,10.86)])
R(simple_analog_switch_2, met1, [(7.1,1.42,15.33,2.15), (15.85,1.42,21.785,2.15), (7.1,2.15,7.61,8.93), (20.8,2.15,21.41,8.93), (15.44,2.61,20.11,2.79), (8.31,2.65,15.24,2.83), (15.44,2.79,15.62,8.17), (15.04,2.83,15.24,8.29), (15.44,8.17,20.13,8.35), (8.31,8.29,15.24,8.47), (15.44,8.35,15.62,9.98), (15.04,8.47,15.24,9.96), (7.1,8.93,14.84,9.66), (15.8,8.93,21.875,9.66), (14.905,9.96,15.245,10.865), (15.44,9.98,15.78,10.1), (15.445,10.1,15.78,10.86)])
R(simple_analog_switch_2, met2_pin, [(21.03,3.02,21.87,4.02), (21.035,6.98,21.865,7.98)])
R(simple_analog_switch_2, met2, [(7.985,3.02,21.91,5.18), (7.78,5.82,21.91,7.98)])
R(simple_analog_switch_2, hvi, [(6.05,0.12,23.4,1.665), (6.05,1.665,7.08,2.31), (15.63,1.665,23.4,1.91), (15.63,1.91,16.105,9.06), (21.265,1.91,23.4,9.06), (6.05,2.31,7.025,9.305), (15.63,9.06,23.4,9.305), (6.05,9.305,23.4,10.88)])
R(simple_analog_switch_2, nsdm, [(6.255,0.325,23.195,0.945), (6.255,0.945,6.875,1.785), (22.575,0.945,23.195,10.055), (6.255,1.785,7.225,9.345), (6.255,9.345,6.875,10.055), (6.255,10.055,23.195,10.675)])
simple_analog_switch_2.add(gdstk.Reference(iso_switch_via_med, (5.52,-6.58), x_reflection=True))
simple_analog_switch_2.add(gdstk.Reference(iso_switch_via_med, (4.725,-9.41), x_reflection=True))
simple_analog_switch_2.add(gdstk.Reference(iso_switch_via_med, (6.305,-9.41), x_reflection=True))
simple_analog_switch_2.add(gdstk.Reference(iso_switch_via_med, (7.885,-9.41), x_reflection=True))
simple_analog_switch_2.add(gdstk.Reference(iso_switch_via_med, (9.465,-9.41), x_reflection=True))
simple_analog_switch_2.add(gdstk.Reference(iso_switch_via_med, (10.26,-6.58), x_reflection=True))
simple_analog_switch_2.add(gdstk.Reference(iso_switch_via_med, (7.1,-6.58), x_reflection=True))
simple_analog_switch_2.add(gdstk.Reference(iso_switch_via_med, (8.68,-6.58), x_reflection=True))
simple_analog_switch_2.add(gdstk.Reference(iso_switch_via_med, (11.045,-9.41), x_reflection=True))
simple_analog_switch_2.add(gdstk.Reference(iso_switch_via_med, (20.54,-6.57), rotation=pi))
simple_analog_switch_2.add(gdstk.Reference(iso_switch_via_med, (22.12,-6.57), rotation=pi))
simple_analog_switch_2.add(gdstk.Reference(iso_switch_via_med, (21.33,-9.4), rotation=pi))
simple_analog_switch_2.add(gdstk.Reference(iso_switch_via_med, (22.91,-9.4), rotation=pi))
simple_analog_switch_2.add(gdstk.Reference(iso_switch_via_med, (23.7,-6.57), rotation=pi))
simple_analog_switch_2.add(gdstk.Reference(sky130_fd_pr__nfet_g5v0d, (18.685,5.485), rotation=pi, x_reflection=True))
simple_analog_switch_2.add(gdstk.Reference(sky130_fd_pr__pfet_g5v0d, (11.325,5.565)))
simple_analog_switch_2.add(gdstk.Label('on', (15.612,10.42), layer=68, texttype=5))
simple_analog_switch_2.add(gdstk.Label('off', (15.075,10.412), layer=68, texttype=5))
simple_analog_switch_2.add(gdstk.Label('vss', (21.2,1.842), layer=68, texttype=5))
simple_analog_switch_2.add(gdstk.Label('out', (21.45,3.52), layer=69, texttype=5))
simple_analog_switch_2.add(gdstk.Label('in', (21.45,7.48), layer=69, texttype=5))
simple_analog_switch_2.add(gdstk.Label('vdd', (7.905,9.125), layer=68, texttype=5))

simplest_analog_switch_e = lib.new_cell('simplest_analog_switch_ena1v8')
R(simplest_analog_switch_e, tap, [(0.305,8.2,17.69,8.62)])
A(simplest_analog_switch_e, licon, 0.58, 8.325, 0.17, 0.17, 50, 1, 0.34, 0)
R(simplest_analog_switch_e, li1, [(3.06,7,4.22,7.33), (0.345,8.2,17.65,8.62), (1.9,10.735,2.13,11.51), (12.22,11.435,13.42,11.765), (14.255,11.44,15.455,11.77), (3.78,11.62,4.98,11.96), (14.395,16.105,15.475,16.415), (12.83,16.145,13.145,16.475)])
A(simplest_analog_switch_e, mcon, 3.19, 7.085, 0.17, 0.17, 3, 1, 0.36, 0)
A(simplest_analog_switch_e, mcon, 5.075, 8.325, 0.17, 0.17, 3, 1, 0.36, 0)
A(simplest_analog_switch_e, mcon, 12.375, 11.52, 0.17, 0.17, 3, 1, 0.36, 0)
A(simplest_analog_switch_e, mcon, 14.41, 11.525, 0.17, 0.17, 3, 1, 0.36, 0)
A(simplest_analog_switch_e, mcon, 3.935, 11.705, 0.17, 0.17, 3, 1, 0.36, 0)
A(simplest_analog_switch_e, mcon, 14.49, 16.175, 0.17, 0.17, 3, 1, 0.36, 0)
R(simplest_analog_switch_e, mcon, [(1.93,10.855,2.1,11.025), (1.93,11.215,2.1,11.385)])
R(simplest_analog_switch_e, met1_pin, [(0.01,10.205,0.91,10.65), (0.005,12.65,1.315,13.19), (0,17.395,1.315,18.135)])
R(simplest_analog_switch_e, met1, [(10.3,-1.61,15.955,-0.99), (3.075,5.81,4.185,5.83), (3.02,5.83,9.02,6.55), (3.06,7,4.22,7.33), (4.98,8.15,6.065,8.675), (5.05,9.84,6,9.9), (1.495,9.9,17.34,10.28), (0.01,10.205,1.31,10.65), (5.05,10.28,6,10.47), (1.115,10.65,1.31,10.665), (1.115,10.665,2.195,10.845), (1.835,10.845,2.195,11.645), (12.22,11.435,13.42,11.765), (14.255,11.44,15.455,11.77), (3.78,11.62,4.98,11.645), (1.835,11.645,4.98,11.825), (3.78,11.825,4.98,11.96), (0.005,12.65,1.315,12.905), (0.005,12.905,2.585,13.19), (3.075,13.33,4.185,13.65), (7.715,13.33,8.83,13.65), (1.495,13.65,17.32,14.34), (3.075,14.34,4.185,14.58), (7.715,14.34,8.83,14.58), (14.345,16.105,15.555,16.415), (5.005,17.1,6.04,17.69), (0,17.395,2.49,17.69), (0,17.69,17.305,18.02), (0,18.02,2.49,18.135)])
A(simplest_analog_switch_e, via, 10.49, -1.535, 0.15, 0.15, 17, 2, 0.32, 0.32)
A(simplest_analog_switch_e, via, 3.25, 5.94, 0.15, 0.15, 18, 2, 0.32, 0.32)
A(simplest_analog_switch_e, via, 3.245, 7.11, 0.15, 0.15, 3, 1, 0.32, 0)
A(simplest_analog_switch_e, via, 5.125, 8.335, 0.15, 0.15, 3, 2, 0.32, 8.9)
A(simplest_analog_switch_e, via, 5.13, 9.92, 0.15, 0.15, 3, 2, 0.32, 0.32)
A(simplest_analog_switch_e, via, 3.235, 13.555, 0.15, 0.15, 3, 3, 0.32, 0.32)
A(simplest_analog_switch_e, via, 7.87, 13.555, 0.15, 0.15, 3, 3, 0.32, 0.32)
A(simplest_analog_switch_e, via, 5.125, 17.555, 0.15, 0.15, 3, 1, 0.32, 0)
R(simplest_analog_switch_e, met2_pin, [(0,-1.7,0.78,-0.97), (16.54,-0.095,17.47,0.9), (16.54,3.86,17.47,4.86), (0,5.81,0.78,6.54)])
R(simplest_analog_switch_e, met2, [(0,-1.7,17.41,-0.86), (15.985,-0.1,17.475,2.06), (15.98,2.7,17.47,4.86), (-0.02,5.6,17.5,6.55), (3.075,6.55,4.185,14.58), (7.715,6.55,8.825,13.29), (9.75,7.63,9.99,10.76), (9.225,7.7,9.475,11.52), (5.005,8.15,6.04,17.84), (9.75,10.76,14.255,11.01), (14.005,11.01,14.255,11.435), (13.13,11.415,13.37,13.825), (14.005,11.435,14.415,11.79), (14.79,11.435,15.03,11.475), (9.225,11.52,12.435,11.77), (14.08,11.79,14.415,11.795), (7.715,13.29,8.83,14.58), (13.13,13.825,14.655,14.065), (14.415,14.065,14.655,16.26)])
R(simplest_analog_switch_e, hvi, [(13.05,16.14,13.23,17.605)])
R(simplest_analog_switch_e, nsdm, [(15.39,10.355,15.5,11.34), (15.39,16.57,15.5,17.555), (12.99,16.615,13.29,17.57)])
R(simplest_analog_switch_e, psdm, [(0.18,8.075,17.815,8.745), (15.39,12.465,15.5,13.715), (12.99,14.185,13.29,15.935), (15.39,14.195,15.5,15.445)])
R(simplest_analog_switch_e, hvntm, [(13.05,16.555,13.23,17.63)])
simplest_analog_switch_e.add(gdstk.Reference(iso_switch_via, (12.785,21.41), rotation=pi, x_reflection=True))
simplest_analog_switch_e.add(gdstk.Reference(iso_switch_via, (13.31,21.385), rotation=pi, x_reflection=True))
simplest_analog_switch_e.add(gdstk.Reference(iso_switch_via, (26.9,8.15), rotation=pi/2, x_reflection=True))
simplest_analog_switch_e.add(gdstk.Reference(iso_switch_via, (28.985,8.175), rotation=pi/2, x_reflection=True))
simplest_analog_switch_e.add(gdstk.Reference(sky130_fd_sc_hvl__inv_2, (13.015,9.885)))
simplest_analog_switch_e.add(gdstk.Reference(sky130_fd_sc_hvl__diode_, (1.495,9.885)))
simplest_analog_switch_e.add(gdstk.Reference(sky130_fd_sc_hvl__decap_, (15.415,9.885)))
simplest_analog_switch_e.add(gdstk.Reference(iso_switch_via, (28.985,12.82), rotation=pi/2, x_reflection=True))
simplest_analog_switch_e.add(gdstk.Reference(sky130_fd_sc_hvl__inv_2, (13.015,18.025), x_reflection=True))
simplest_analog_switch_e.add(gdstk.Reference(sky130_fd_sc_hvl__decap_, (15.415,18.025), x_reflection=True))
simplest_analog_switch_e.add(gdstk.Reference(sky130_fd_sc_hvl__fill_2, (1.495,18.025), x_reflection=True))
simplest_analog_switch_e.add(gdstk.Reference(sky130_fd_sc_hvl__lsbufl, (2.455,9.885)))
simplest_analog_switch_e.add(gdstk.Reference(simple_analog_switch_2, (-5.745,-3.12)))
simplest_analog_switch_e.add(gdstk.Label('in', (17.005,4.36), layer=69, texttype=5))
simplest_analog_switch_e.add(gdstk.Label('out', (17.005,0.402), layer=69, texttype=5))
simplest_analog_switch_e.add(gdstk.Label('avdd', (0.39,6.175), layer=69, texttype=5))
simplest_analog_switch_e.add(gdstk.Label('avss', (0.39,-1.335), layer=69, texttype=5))
simplest_analog_switch_e.add(gdstk.Label('dvdd', (0.66,12.92), layer=68, texttype=5))
simplest_analog_switch_e.add(gdstk.Label('dvss', (0.657,17.765), layer=68, texttype=5))
simplest_analog_switch_e.add(gdstk.Label('on', (0.46,10.427), layer=68, texttype=5))

lib.write_gds('simplest_analog_switch_ena1v8.gds')
